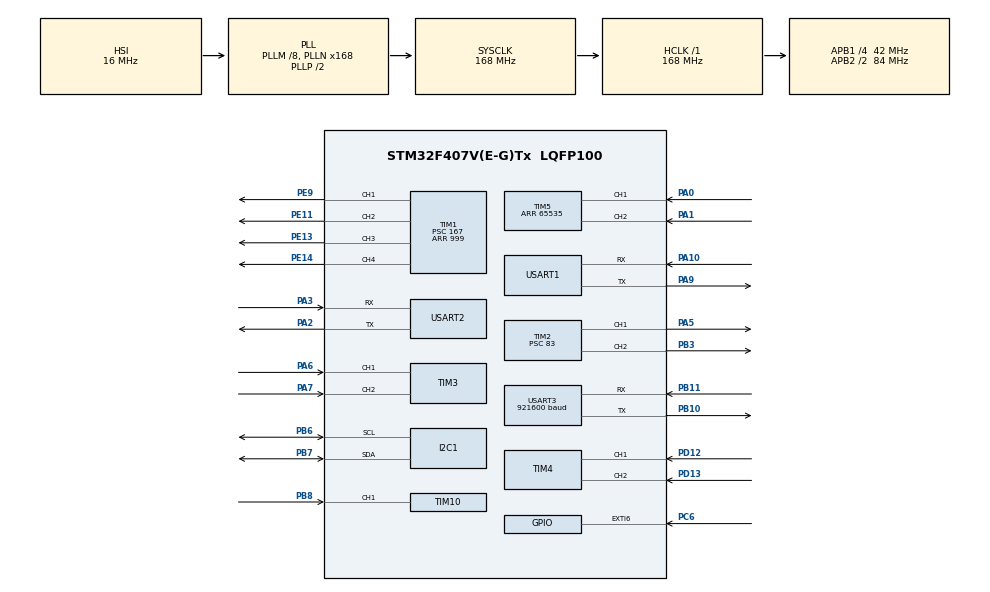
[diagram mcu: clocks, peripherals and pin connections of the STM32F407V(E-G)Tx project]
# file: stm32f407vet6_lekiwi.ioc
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FREERTOS.Tasks01=defaultTask,24,3000,StartDefaultTask,Default,NULL,Static,defaultTaskBuffer,defaultTaskControlBlock
FREERTOS.configENABLE_FPU=1
Mcu.Family=STM32F4
Mcu.Name=STM32F407V(E-G)Tx
Mcu.Package=LQFP100
NVIC.EXTI9_5_IRQn=true\:5\:0\:false\:false\:true\:true\:true\:true\:true
NVIC.PriorityGroup=NVIC_PRIORITYGROUP_4
NVIC.TIM1_BRK_TIM9_IRQn=true\:5\:0\:false\:false\:true\:true\:true\:true\:true
NVIC.TIM1_UP_TIM10_IRQn=true\:5\:0\:false\:false\:true\:true\:true\:true\:true
NVIC.TIM8_TRG_COM_TIM14_IRQn=true\:15\:0\:false\:false\:true\:false\:false\:true\:true
NVIC.TimeBase=TIM8_TRG_COM_TIM14_IRQn
NVIC.TimeBaseIP=TIM14
NVIC.USART1_IRQn=true\:5\:0\:false\:false\:true\:true\:true\:true\:true
NVIC.USART2_IRQn=true\:5\:0\:false\:false\:true\:true\:true\:true\:true
NVIC.USART3_IRQn=true\:5\:0\:false\:false\:true\:true\:true\:true\:true
PA0-WKUP.Signal=S_TIM5_CH1
PA1.Signal=S_TIM5_CH2
PA10.Mode=Asynchronous
PA10.Signal=USART1_RX
PA13.Mode=Serial_Wire
PA13.Signal=SYS_JTMS-SWDIO
PA14.Mode=Serial_Wire
PA14.Signal=SYS_JTCK-SWCLK
PA2.Mode=Asynchronous
PA2.Signal=USART2_TX
PA3.Mode=Asynchronous
PA3.Signal=USART2_RX
PA5.Signal=S_TIM2_CH1_ETR
PA6.Signal=S_TIM3_CH1
PA7.Signal=S_TIM3_CH2
PA9.Mode=Asynchronous
PA9.Signal=USART1_TX
PB10.Mode=Asynchronous
PB10.Signal=USART3_TX
PB11.Mode=Asynchronous
PB11.Signal=USART3_RX
PB3.Signal=S_TIM2_CH2
PB6.Mode=I2C
PB6.Signal=I2C1_SCL
PB7.Mode=I2C
PB7.Signal=I2C1_SDA
PB8.Signal=S_TIM10_CH1
PC14-OSC32_IN.Mode=LSE-External-Oscillator
PC14-OSC32_IN.Signal=RCC_OSC32_IN
PC15-OSC32_OUT.Mode=LSE-External-Oscillator
PC15-OSC32_OUT.Signal=RCC_OSC32_OUT
PC6.Signal=GPXTI6
PD12.Signal=S_TIM4_CH1
PD13.Signal=S_TIM4_CH2
PE11.Signal=S_TIM1_CH2
PE13.Signal=S_TIM1_CH3
PE14.Signal=S_TIM1_CH4
PE9.Signal=S_TIM1_CH1
PH0-OSC_IN.Mode=HSE-External-Oscillator
PH0-OSC_IN.Signal=RCC_OSC_IN
PH1-OSC_OUT.Mode=HSE-External-Oscillator
PH1-OSC_OUT.Signal=RCC_OSC_OUT
ProjectManager.HeapSize=0x200
ProjectManager.StackSize=0x400
ProjectManager.TargetToolchain=MDK-ARM V5.32
RCC.48MHZClocksFreq_Value=84000000
RCC.AHBFreq_Value=168000000
RCC.APB1CLKDivider=RCC_HCLK_DIV4
RCC.APB1Freq_Value=42000000
RCC.APB1TimFreq_Value=84000000
RCC.APB2CLKDivider=RCC_HCLK_DIV2
RCC.APB2Freq_Value=84000000
RCC.APB2TimFreq_Value=168000000
RCC.CortexFreq_Value=168000000
RCC.HCLKFreq_Value=168000000
RCC.HSE_VALUE=25000000
RCC.HSI_VALUE=16000000
RCC.PLLM=8
RCC.PLLN=168
RCC.SYSCLKFreq_VALUE=168000000
RCC.SYSCLKSource=RCC_SYSCLKSOURCE_PLLCLK
RCC.VCOOutputFreq_Value=336000000
SH.S_TIM10_CH1.0=TIM10_CH1,Input_Capture1_from_TI1
SH.S_TIM1_CH1.0=TIM1_CH1,PWM Generation1 CH1
SH.S_TIM1_CH2.0=TIM1_CH2,PWM Generation2 CH2
SH.S_TIM1_CH3.0=TIM1_CH3,PWM Generation3 CH3
SH.S_TIM1_CH4.0=TIM1_CH4,PWM Generation4 CH4
SH.S_TIM2_CH1_ETR.0=TIM2_CH1,PWM Generation1 CH1
SH.S_TIM2_CH2.0=TIM2_CH2,PWM Generation2 CH2
SH.S_TIM3_CH1.0=TIM3_CH1,Encoder_Interface
SH.S_TIM3_CH2.0=TIM3_CH2,Encoder_Interface
SH.S_TIM4_CH1.0=TIM4_CH1,Encoder_Interface
SH.S_TIM4_CH2.0=TIM4_CH2,Encoder_Interface
SH.S_TIM5_CH1.0=TIM5_CH1,Encoder_Interface
SH.S_TIM5_CH2.0=TIM5_CH2,Encoder_Interface
TIM1.AutoReloadPreload=TIM_AUTORELOAD_PRELOAD_ENABLE
TIM1.Channel-PWM\ Generation1\ CH1=TIM_CHANNEL_1
TIM1.Channel-PWM\ Generation2\ CH2=TIM_CHANNEL_2
TIM1.Channel-PWM\ Generation3\ CH3=TIM_CHANNEL_3
TIM1.Channel-PWM\ Generation4\ CH4=TIM_CHANNEL_4
TIM1.Period=999
TIM1.Prescaler=167
TIM10.Channel=TIM_CHANNEL_1
TIM10.Prescaler=167
TIM2.AutoReloadPreload=TIM_AUTORELOAD_PRELOAD_ENABLE
TIM2.Channel-PWM\ Generation1\ CH1=TIM_CHANNEL_1
TIM2.Channel-PWM\ Generation2\ CH2=TIM_CHANNEL_2
TIM2.Period=999
TIM2.Prescaler=83
TIM3.AutoReloadPreload=TIM_AUTORELOAD_PRELOAD_ENABLE
TIM3.EncoderMode=TIM_ENCODERMODE_TI12
TIM3.IC2Filter=4
TIM4.AutoReloadPreload=TIM_AUTORELOAD_PRELOAD_ENABLE
TIM4.EncoderMode=TIM_ENCODERMODE_TI12
TIM4.IC2Filter=4
TIM5.AutoReloadPreload=TIM_AUTORELOAD_PRELOAD_ENABLE
TIM5.EncoderMode=TIM_ENCODERMODE_TI12
TIM5.IC2Filter=4
TIM5.Period=65535
TIM9.AutoReloadPreload=TIM_AUTORELOAD_PRELOAD_ENABLE
TIM9.Period=999
TIM9.Prescaler=4199
USART1.VirtualMode=VM_ASYNC
USART2.VirtualMode=VM_ASYNC
USART3.BaudRate=921600
USART3.VirtualMode=VM_ASYNC
VP_CRC_VS_CRC.Mode=CRC_Activate
VP_FREERTOS_VS_CMSIS_V2.Mode=CMSIS_V2
VP_SYS_VS_tim14.Mode=TIM14
VP_TIM10_VS_ClockSourceINT.Mode=Enable_Timer
VP_TIM9_VS_ClockSourceINT.Mode=Internal
board=custom

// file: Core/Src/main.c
/* USER CODE BEGIN Header */
/**
  ******************************************************************************
  * @file           : main.c
  * @brief          : Main program body
  ******************************************************************************
  * @attention
  *
  * Copyright (c) 2025 STMicroelectronics.
  * All rights reserved.
  *
  * This software is licensed under terms that can be found in the LICENSE file
  * in the root directory of this software component.
  * If no LICENSE file comes with this software, it is provided AS-IS.
  *
  ******************************************************************************
  */
/* USER CODE END Header */
#include "main.h"
#include "cmsis_os.h"
#include "crc.h"
#include "i2c.h"
#include "tim.h"
#include "usart.h"
#include "gpio.h"

/* USER CODE BEGIN Includes */
#include "tim.h"
#include "motor_control.h"
/* USER CODE END Includes */

void SystemClock_Config(void);
void MX_FREERTOS_Init(void);

int main(void)
{

  /* MCU Configuration--------------------------------------------------------*/

  /* Reset of all peripherals, Initializes the Flash interface and the Systick. */
  HAL_Init();

  /* Configure the system clock */
  SystemClock_Config();

  /* Initialize all configured peripherals */
  MX_GPIO_Init();
  MX_TIM3_Init();
  MX_TIM4_Init();
  MX_TIM5_Init();
  MX_TIM1_Init();
  MX_TIM9_Init();
  MX_TIM2_Init();
  MX_USART1_UART_Init();
  MX_USART2_UART_Init();
  MX_USART3_UART_Init();
  MX_I2C1_Init();
  MX_CRC_Init();
  MX_TIM10_Init();

  /* Init scheduler */
  osKernelInitialize();

  /* Call init function for freertos objects (in cmsis_os2.c) */
  MX_FREERTOS_Init();

  /* Start scheduler */
  osKernelStart();

  /* We should never get here as control is now taken by the scheduler */

  /* Infinite loop */
  while (1)
  {

  }
}

void SystemClock_Config(void)
{
  RCC_OscInitTypeDef RCC_OscInitStruct = {0};
  RCC_ClkInitTypeDef RCC_ClkInitStruct = {0};

  /** Configure the main internal regulator output voltage
  */
  __HAL_RCC_PWR_CLK_ENABLE();
  __HAL_PWR_VOLTAGESCALING_CONFIG(PWR_REGULATOR_VOLTAGE_SCALE1);

  /** Initializes the RCC Oscillators according to the specified parameters
  * in the RCC_OscInitTypeDef structure.
  */
  RCC_OscInitStruct.OscillatorType = RCC_OSCILLATORTYPE_HSI;
  RCC_OscInitStruct.HSIState = RCC_HSI_ON;
  RCC_OscInitStruct.HSICalibrationValue = RCC_HSICALIBRATION_DEFAULT;
  RCC_OscInitStruct.PLL.PLLState = RCC_PLL_ON;
  RCC_OscInitStruct.PLL.PLLSource = RCC_PLLSOURCE_HSI;
  RCC_OscInitStruct.PLL.PLLM = 8;
  RCC_OscInitStruct.PLL.PLLN = 168;
  RCC_OscInitStruct.PLL.PLLP = RCC_PLLP_DIV2;
  RCC_OscInitStruct.PLL.PLLQ = 4;
  if (HAL_RCC_OscConfig(&RCC_OscInitStruct) != HAL_OK)
  {
    Error_Handler();
  }

  /** Initializes the CPU, AHB and APB buses clocks
  */
  RCC_ClkInitStruct.ClockType = RCC_CLOCKTYPE_HCLK|RCC_CLOCKTYPE_SYSCLK
                              |RCC_CLOCKTYPE_PCLK1|RCC_CLOCKTYPE_PCLK2;
  RCC_ClkInitStruct.SYSCLKSource = RCC_SYSCLKSOURCE_PLLCLK;
  RCC_ClkInitStruct.AHBCLKDivider = RCC_SYSCLK_DIV1;
  RCC_ClkInitStruct.APB1CLKDivider = RCC_HCLK_DIV4;
  RCC_ClkInitStruct.APB2CLKDivider = RCC_HCLK_DIV2;

  if (HAL_RCC_ClockConfig(&RCC_ClkInitStruct, FLASH_LATENCY_5) != HAL_OK)
  {
    Error_Handler();
  }
}

void HAL_TIM_PeriodElapsedCallback(TIM_HandleTypeDef *htim)
{
  /* USER CODE BEGIN Callback 0 */
  if (htim->Instance == TIM9)
  {
      // 当TIM2中断发生时，只需调用我们模块中的更新函数
      Motor_Encoder_Update_Callback();
  }
  /* USER CODE END Callback 0 */
  if (htim->Instance == TIM14)
  {
    HAL_IncTick();
  }
}

void Error_Handler(void)
{
  __disable_irq();
  while (1)
  {
  }
}

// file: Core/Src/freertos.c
/* USER CODE BEGIN Header */
/**
  ******************************************************************************
  * File Name          : freertos.c
  * Description        : Code for freertos applications
  ******************************************************************************
  * @attention
  *
  * Copyright (c) 2025 STMicroelectronics.
  * All rights reserved.
  *
  * This software is licensed under terms that can be found in the LICENSE file
  * in the root directory of this software component.
  * If no LICENSE file comes with this software, it is provided AS-IS.
  *
  ******************************************************************************
  */
/* USER CODE END Header */

#include "FreeRTOS.h"
#include "task.h"
#include "main.h"
#include "cmsis_os.h"

/* USER CODE BEGIN Includes */
#include "tim.h"
#include "motor_control.h"
#include "ppm.h"
#include "protocol.h"
/* USER CODE END Includes */

typedef StaticTask_t osStaticThreadDef_t;

/* Definitions for defaultTask */
osThreadId_t defaultTaskHandle;
uint32_t defaultTaskBuffer[ 3000 ];
osStaticThreadDef_t defaultTaskControlBlock;
const osThreadAttr_t defaultTask_attributes = {
  .name = "defaultTask",
  .cb_mem = &defaultTaskControlBlock,
  .cb_size = sizeof(defaultTaskControlBlock),
  .stack_mem = &defaultTaskBuffer[0],
  .stack_size = sizeof(defaultTaskBuffer),
  .priority = (osPriority_t) osPriorityNormal,
};

void StartDefaultTask(void *argument);

void MX_FREERTOS_Init(void); /* (MISRA C 2004 rule 8.1) */

void MX_FREERTOS_Init(void) {

  /* Create the thread(s) */
  /* creation of defaultTask */
  defaultTaskHandle = osThreadNew(StartDefaultTask, NULL, &defaultTask_attributes);

}

/* USER CODE BEGIN Header_StartDefaultTask */
//    Motor_Set_Speed(1, 25);  // 电机1以25%速度正转
//    Motor_Set_Speed(2, -50); // 电机2以50%速度反转
extern Motor_t g_motors[MOTOR_COUNT];
int16_t spp[MOTOR_COUNT];

//////////////  for rc
#define RC_DEADBAND 10
// 定义最大RPM，用于将遥控器指令映射到转速
#define MAX_RPM 1000.0f
///////////////////
/**
  * @brief  Function implementing the defaultTask thread.
  * @param  argument: Not used
  * @retval None
  */
/* USER CODE END Header_StartDefaultTask */
void StartDefaultTask(void *argument)
{
  /* USER CODE BEGIN StartDefaultTask */

  Motor_Init();  // 初始化我们的电机模块
  Motor_Start(); // 启动所有电机相关的硬件

  Protocol_Init();

  HAL_TIM_IC_Start_IT(&htim10, TIM_CHANNEL_1);

  Motor_Set_Target_Speed(0, 0.0f);   // 命令电机0 (原电机1) 以 500 RPM 旋转
  Motor_Set_Target_Speed(1, 0.0f);  // 命令电机1 (原电机2) 以 300 RPM 反向旋转
  Motor_Set_Target_Speed(2, 0.0f);     // 命令电机2 (原电机3) 保持静止

    /* Infinite loop */
  for(;;)
  {
    Protocol_Process();

    // 检查是否有新的一帧PPM遥控数据
    if (ppm_frame_ready)
    {
        // 1. 处理原始数据，填充 filtered_channel_values 数组
        process_channel_values();

        // 2. 清除标志位，等待下一帧
        ppm_frame_ready = 0;

        // 3. 【核心控制逻辑】
        // a. 获取前进/后退 和 旋转的遥控指令 (-100 to 100)
        int16_t forward_cmd = filtered_channel_values[2];
        int16_t rotation_cmd = filtered_channel_values[0];

        // b. 应用死区
        if (forward_cmd > -RC_DEADBAND && forward_cmd < RC_DEADBAND) {
            forward_cmd = 0;
        }
        if (rotation_cmd > -RC_DEADBAND && rotation_cmd < RC_DEADBAND) {
            rotation_cmd = 0;
        }

        // c. 【运动混合】计算每个轮子的最终指令
        //    最终指令 = 前进/后退分量 + 旋转分量
        int16_t motor_cmd_0 = forward_cmd + rotation_cmd;
        int16_t motor_cmd_1 = -forward_cmd + rotation_cmd;
        int16_t motor_cmd_2 = 0           + rotation_cmd; // 电机2只参与旋转

        // d. 【指令限幅】防止叠加后的值超出 -100 ~ 100 的范围
        if (motor_cmd_0 > 100) motor_cmd_0 = 100;
        if (motor_cmd_0 < -100) motor_cmd_0 = -100;

        if (motor_cmd_1 > 100) motor_cmd_1 = 100;
        if (motor_cmd_1 < -100) motor_cmd_1 = -100;

        if (motor_cmd_2 > 100) motor_cmd_2 = 100;
        if (motor_cmd_2 < -100) motor_cmd_2 = -100;

        // e. 将最终的控制指令 (-100 to 100) 映射为PID的目标转速 (RPM)
        float target_rpm_0 = (motor_cmd_0 / 100.0f) * MAX_RPM;
        float target_rpm_1 = (motor_cmd_1 / 100.0f) * MAX_RPM;
        float target_rpm_2 = (motor_cmd_2 / 100.0f) * MAX_RPM;

        // f. 将计算出的目标速度下发给PID控制器
        Motor_Set_Target_Speed(0, target_rpm_0);
        Motor_Set_Target_Speed(1, target_rpm_1);
        Motor_Set_Target_Speed(2, target_rpm_2);
    }

//        for(int i = 0 ;i <3 ; i++)
//      {
//          Motor_Set_PWM_Duty(i,spp[i]);
//      }
    //Motor_Run_PID_Control();
    //osDelay(1);
      Motor_Run_PID_Control();
      osDelay(20);
  }
  /* USER CODE END StartDefaultTask */
}
